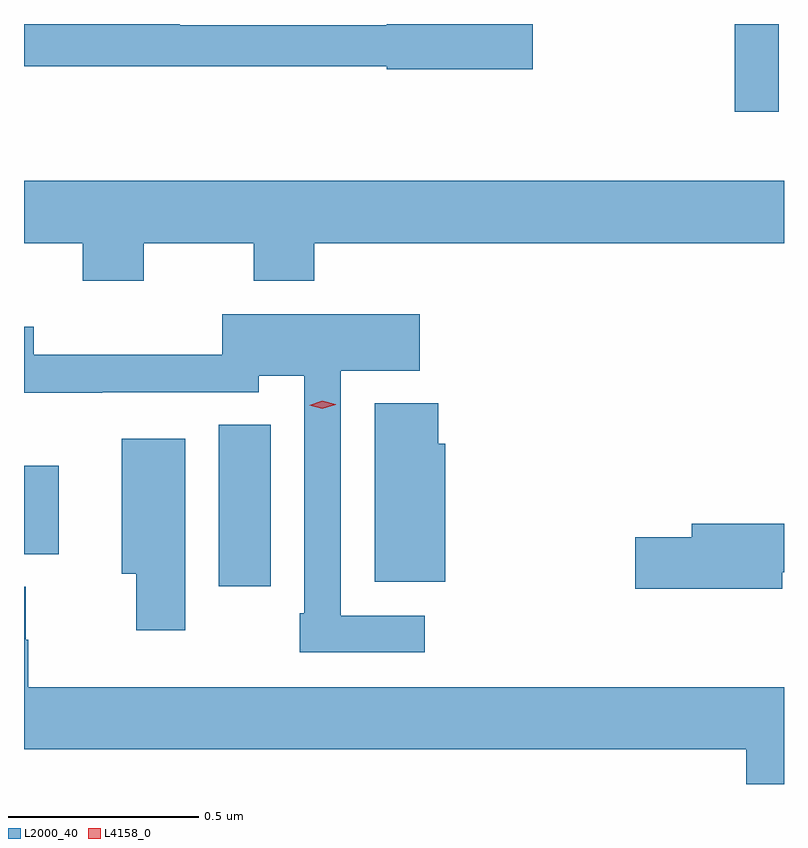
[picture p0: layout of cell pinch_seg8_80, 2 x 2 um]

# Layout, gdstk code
import gdstk
lib = gdstk.Library(unit=1e-6, precision=1e-09)
def R(c, l, rs):  # rectangles x0, y0, x1, y1
    for r in rs: c.add(gdstk.rectangle(r[:2], r[2:], *l))
def P(c, l, *ps):  # polygons
    for p in ps: c.add(gdstk.Polygon(p, *l))
L2000_40 = (2000, 40)
L4158_0 = (4158, 0)

pinch_seg8_80 = lib.new_cell('pinch_seg8_80')
R(pinch_seg8_80, L2000_40, [(1012.058,1100.946,1012.195,1101.371), (1011.546,1101.029,1011.637,1101.262), (1013.416,1102.194,1013.532,1102.425)])
P(pinch_seg8_80, L2000_40, [(1012.885,1102.425),(1012.5,1102.425),(1012.5,1102.422),(1011.956,1102.422),(1011.956,1102.425),(1011.546,1102.425),(1011.546,1102.314),(1012.5,1102.314),(1012.5,1102.306),(1012.885,1102.306)],
  [(1011.861,1101.848),(1012.15,1101.848),(1012.15,1101.749),(1012.31,1101.749),(1012.31,1101.848),(1013.546,1101.848),(1013.546,1102.012),(1011.546,1102.012),(1011.546,1101.848),(1011.701,1101.848),(1011.701,1101.749),(1011.861,1101.749)],
  [(1012.6,1100.868),(1012.38,1100.868),(1012.38,1101.512),(1012.588,1101.512),(1012.588,1101.661),(1012.068,1101.661),(1012.068,1101.554),(1011.572,1101.554),(1011.572,1101.628),(1011.546,1101.628),(1011.546,1101.455),(1011.752,1101.455),(1011.752,1101.456),(1012.164,1101.456),(1012.164,1101.5),(1012.284,1101.5),(1012.284,1100.875),(1012.272,1100.875),(1012.272,1100.772),(1012.6,1100.772)],
  [(1012.654,1101.321),(1012.636,1101.321),(1012.636,1101.427),(1012.469,1101.427),(1012.469,1100.957),(1012.654,1100.957)],
  [(1011.97,1101.334),(1011.803,1101.334),(1011.803,1100.978),(1011.841,1100.978),(1011.841,1100.829),(1011.97,1100.829)],
  [(1013.542,1100.982),(1013.546,1100.982),(1013.546,1101.11),(1013.303,1101.11),(1013.303,1101.074),(1013.154,1101.074),(1013.154,1100.939),(1013.542,1100.939)],
  [(1013.546,1100.68),(1011.557,1100.68),(1011.557,1100.804),(1011.55,1100.804),(1011.55,1100.944),(1011.546,1100.944),(1011.546,1100.516),(1013.447,1100.516),(1013.447,1100.425),(1013.546,1100.425)])
P(pinch_seg8_80, L4158_0, [(1012.331,1101.413),(1012.296,1101.422),(1012.296,1101.422),(1012.296,1101.422),(1012.331,1101.433),(1012.366,1101.424),(1012.366,1101.424),(1012.366,1101.423)])

lib.write_gds('pinch_seg8_80.gds')
